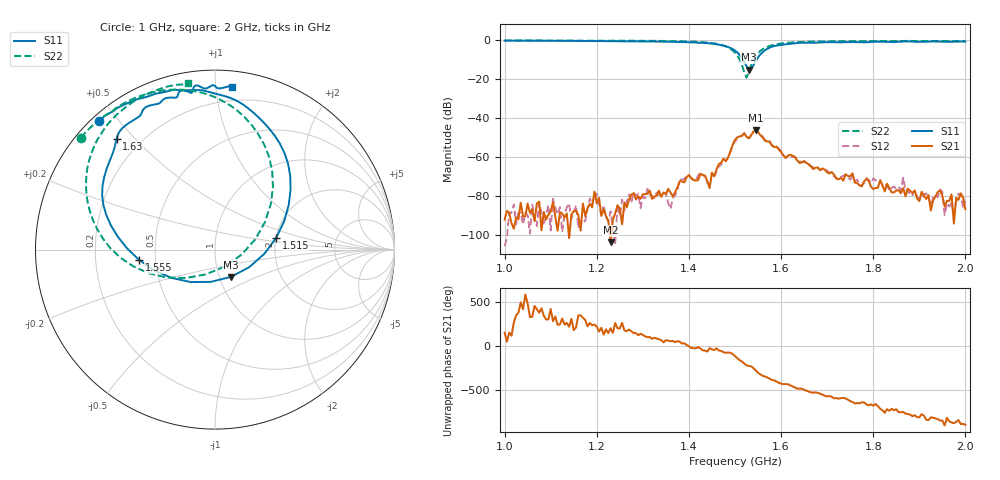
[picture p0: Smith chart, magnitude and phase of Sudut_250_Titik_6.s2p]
# Hz S RI R 50
! CMT, C1220, 16058040, 17.2.0/1
! Date: 14/08/2018 12:23:59
! Data: Format (Calibration Info)
! Freq  S11: Re/Im (F2)  S21: Re/Im (F2)  S12: Re/Im (F2)  S22: Re/Im (F2)
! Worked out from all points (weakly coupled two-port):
!   201 points, 1 GHz to 2 GHz, reference 50 ohm
!   highest |S21| = -46.21 dB at 1.545 GHz (marker M1); lowest = -103.5 dB at 1.23 GHz (marker M2)
!   lowest |S11| = -15.1 dB at 1.53 GHz (marker M3), VSWR 1.43, Z = 56.7 - j17.8 ohm
!   |S11| at or under -10 dB: 1.517 GHz to 1.547 GHz (29.97 MHz wide, 1.96 % of centre)
!   |S22| runs from -19.3 to -0.2 dB; largest |S21 - S12| = 0.0004
!   S11 on the Smith chart (normalised r, x): 1 GHz: 0.02, +0.44; 1.515 GHz: 2.01, +0.30; 1.555 GHz: 0.40, -0.06; 1.63 GHz: 0.11, +0.44; 2 GHz: 0.10, +1.11
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1e9  -0.6458 0.7156  -2.29e-05 1.12e-05  -6.07e-07 5.29e-06  -0.7479 0.6242
1.17e9  -0.4691 0.8237  5.25e-05 -3.94e-05  1.29e-05 -1.81e-05  -0.6111 0.7488
1.23e9  -0.3847 0.8498  -6.14e-06 -2.74e-06  -3.76e-05 1.7e-05  -0.5556 0.7856
1.335e9  -0.204 0.8888  2.82e-05 0.000137  6.25e-05 8.9e-05  -0.3962 0.8624
1.365e9  -0.1146 0.8889  5e-05 8.71e-05  3.38e-05 8.21e-05  -0.3287 0.8802
1.38e9  -0.0769 0.8877  0.000156 0.000186  0.000124 0.000238  -0.2877 0.8869
1.425e9  0.0813 0.8467  0.000337 -0.00017  0.000363 -0.000205  -0.115 0.8829
1.445e9  0.162 0.8043  0.00015 -6.53e-05  0.000144 -0.000126  -0.0058 0.8512
1.45e9  0.1849 0.7872  0.000319 -0.000248  0.00031 -0.000247  0.0263 0.8368
1.48e9  0.3624 0.5887  0.000181 -0.000766  0.000181 -0.000827  0.2396 0.6452
1.5e9  0.421 0.3335  -0.00118 -0.00254  -0.00106 -0.00232  0.323 0.3484
1.515e9  0.3412 0.0659  -0.00351 -0.000353  -0.00348 -0.000456  0.2246 0.0572
1.53e9  0.0882 -0.152  -0.00209 0.00222  -0.00209 0.00224  -0.0534 -0.1387
1.545e9  -0.2427 -0.1576  0.000568 0.00486  0.000518 0.00484  -0.3699 -0.1313
1.555e9  -0.4232 -0.057  0.0029 0.00227  0.00291 0.00248  -0.5244 -0.0472
1.63e9  -0.5486 0.618  -0.000387 -0.000938  -0.000333 -0.000979  -0.6859 0.5425
1.67e9  -0.4282 0.7373  -0.000494 -8.2e-05  -0.000527 -0.000158  -0.6181 0.6708
1.835e9  -0.1361 0.874  0.000156 -4.83e-05  0.000143 -3.77e-06  -0.3708 0.8699
1.86e9  -0.119 0.9028  9.93e-05 -6.68e-05  8.36e-05 -0.000114  -0.3367 0.884
1.865e9  -0.1143 0.9101  0.00014 -8.31e-05  0.000249 -0.000169  -0.3297 0.8867
1.88e9  -0.091 0.9121  6.79e-05 -0.000121  5.6e-05 -8.9e-05  -0.308 0.8949
2e9  0.0972 0.9058  -4.67e-05 -1.54e-06  -6.21e-05 4.54e-05  -0.1486 0.9278
